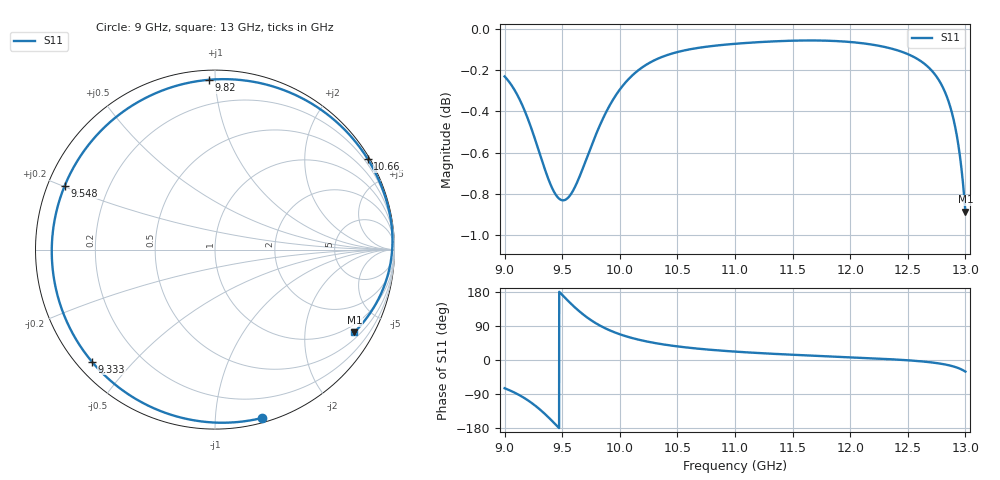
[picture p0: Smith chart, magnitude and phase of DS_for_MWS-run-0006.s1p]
! TOUCHSTONE file generated by CST DESIGN STUDIO
! Date and time: Tue Feb  4 12:50:19 2025
! Project name: C:\Work\MatlabApps\UnitCellOptimizationMatlab\CST\unitcell.cst
! Tree item: Tasks\Sweep1\SPara1\S-Parameters
! Header version: 2024
! Port assignment regex: !\s*Touchstone port\s*([0-9]+)\s*=\s*(CST MWS port|CST DES external port|CST DES block port)\s*(.+)\s* \(\"(.*)\"\)(\s*mode\s*([0-9]+))?.*
! Touchstone port assignment:
! Touchstone port 1 = CST DES external port 1 ("")
# GHz S MA R 50
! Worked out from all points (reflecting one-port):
!   4001 points, 9 GHz to 13 GHz, reference 50 ohm
!   lowest |S11| = -0.9 dB at 13 GHz (marker M1), VSWR 19.60, Z = 35.4 - j176 ohm
!   phase of S11 starts at -75 deg and turns -316 deg over the sweep
!   S11 on the Smith chart (normalised r, x): 9 GHz: 0.04, -1.31; 9.333 GHz: 0.04, -0.39; 9.548 GHz: 0.05, +0.20; 9.82 GHz: 0.05, +0.96; 10.66 GHz: 0.08, +3.66; 13 GHz: 0.71, -3.52
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9  0.9739 -74.5
9.086  0.9666 -86.0
9.19  0.953 -104.0
9.264  0.9403 -120.0
9.333  0.9275 -137.7
9.38  0.9195 -151.1
9.421  0.9139 -163.5
9.461  0.9102 -176.0
9.5  0.9087 171.8
9.548  0.9098 156.9
9.614  0.9159 137.7
9.677  0.9248 121.4
9.744  0.9353 106.3
9.82  0.9467 92.1
9.908  0.9578 78.9
10  0.9668 67.9
10.102  0.9741 58.4
10.216  0.9798 50.0
10.5  0.9873 35.9
10.657  0.9894 30.6
11  0.9919 22.1
11.5  0.9936 13.8
12  0.9929 7.2
12.5  0.9862 -0.8
12.673  0.9793 -5.3
12.805  0.9679 -10.7
12.916  0.9453 -18.8
13  0.9029 -30.6
